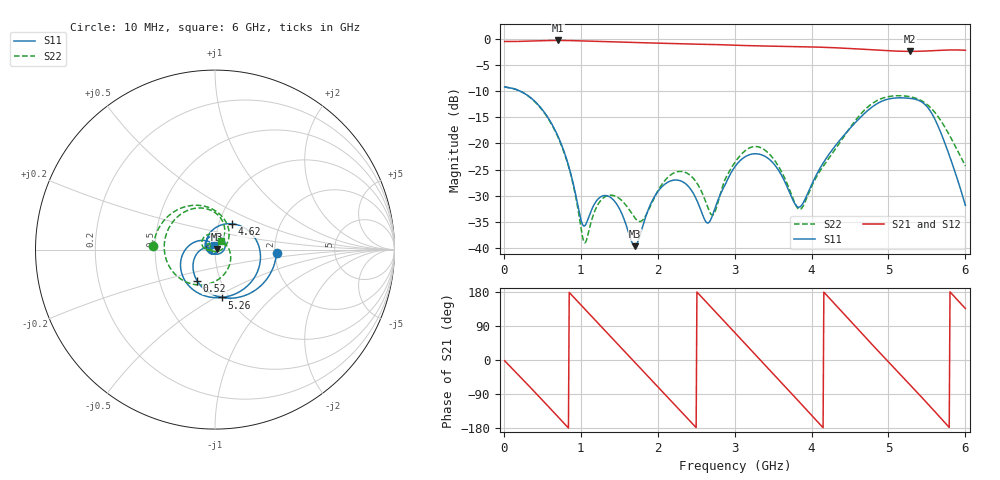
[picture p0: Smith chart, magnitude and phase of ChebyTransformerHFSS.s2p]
! Touchstone file from project TaperedLine_and_RadialStub
! Exported from HFSS 2018.0.0
! Variables:
!  $h = 62mil
!  $t = 0.7mil
!  h = 62mil
!  lam = 65.346mm
!  t = 0.7mil
!  w = 2.99067mm
!  w1 = 2.47403mm
!  w2 = 1.86975mm
!  w3 = 1.29407mm
!  w4 = 0.902071mm
!  w5 = 0.6694mm
!Data is not renormalized
# GHZ S MA
! Modal data exported
! Port[1] = 1:1
! Port[2] = 2:1
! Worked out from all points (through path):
!   600 points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, 10 MHz to 6 GHz, reference per port
!   highest |S21| = -0.37 dB at 700 MHz (marker M1); lowest = -2.5 dB at 5.28 GHz (marker M2)
!   group delay of S21, straight-line fit = 605 ps
!   lowest |S11| = -39.6 dB at 1.7 GHz (marker M3), VSWR 1.02
!   |S11| at or under -10 dB: 206.3 MHz to end of sweep
!   |S22| runs from -39.0 to -9.2 dB; largest |S21 - S12| = 1e-12
!   S11 on the Smith chart (normalised r, x): 10 MHz: 2.05, -0.10; 520 MHz: 0.77, -0.28; 4.62 GHz: 1.16, +0.34; 5.26 GHz: 0.93, -0.54; 6 GHz: 0.99, +0.05
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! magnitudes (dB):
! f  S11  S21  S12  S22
! 10 MHz  -9.2  -0.6  -0.6  -9.2
! 520 MHz  -14.0  -0.4  -0.4  -14.1
! 700 MHz  -18.5  -0.4  -0.4  -18.7
! 870 MHz  -25.8  -0.4  -0.4  -26.0
! 1.01 GHz  -35.0  -0.5  -0.5  -36.8
! 1.07 GHz  -35.3  -0.5  -0.5  -38.6
! 1.36 GHz  -30.1  -0.6  -0.6  -29.9
! 1.7 GHz  -39.6  -0.8  -0.8  -34.2
! 2.01 GHz  -29.0  -0.9  -0.9  -28.9
! 2.36 GHz  -27.7  -1.0  -1.0  -25.6
! 2.66 GHz  -35.2  -1.1  -1.1  -32.6
! 2.74 GHz  -32.6  -1.1  -1.1  -33.2
! 3.01 GHz  -24.3  -1.3  -1.3  -23.5
! 3.39 GHz  -22.4  -1.4  -1.4  -21.2
! 3.84 GHz  -32.2  -1.5  -1.5  -32.6
! 4.01 GHz  -27.6  -1.6  -1.6  -27.9
! 4.62 GHz  -15.3  -2.0  -2.0  -14.7
! 5.01 GHz  -11.5  -2.3  -2.3  -11.1
! 5.26 GHz  -11.4  -2.5  -2.5  -11.1
! 5.28 GHz  -11.4  -2.5  -2.5  -11.1
! 5.59 GHz  -15.0  -2.3  -2.3  -13.9
! 6 GHz  -31.9  -2.2  -2.2  -24.3
